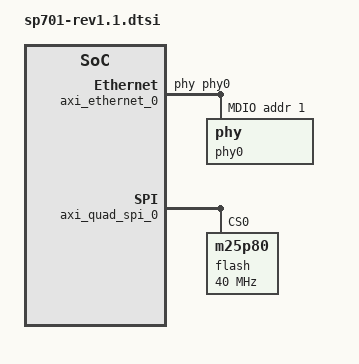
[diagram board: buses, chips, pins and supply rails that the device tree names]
/ {
compatible = "qemu,mbv", "amd,mbv";
	chosen {
		bootargs = "earlycon";
	};
};

&axi_ethernet_0 {
	phy-handle = <&phy0>;
	/delete-node/ mdio;
	axi_ethernet_mdio: mdio {
		#address-cells = <1>;
		#size-cells = <0>;
		phy0: phy@1 {
			device_type = "ethernet-phy";
			reg = <1>;
		};
	};
};


&axi_quad_spi_0 {
	flash@0 {
		compatible = "m25p80", "jedec,spi-nor";
		#address-cells = <1>;
		#size-cells = <1>;
		reg = <0>;
		spi-max-frequency = <40000000>; /* 40MHz */
	};
};
